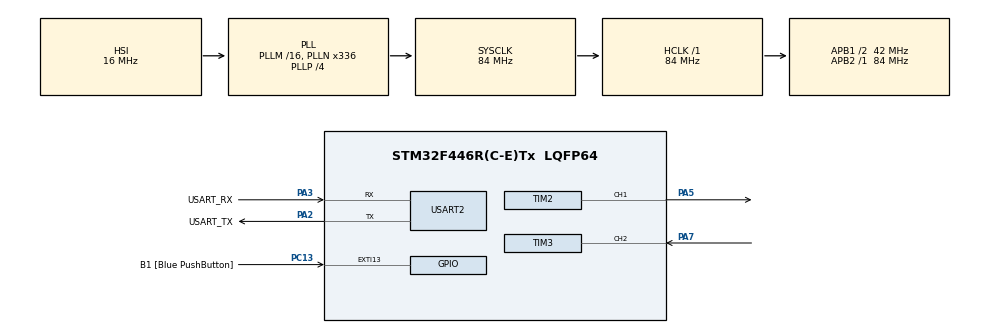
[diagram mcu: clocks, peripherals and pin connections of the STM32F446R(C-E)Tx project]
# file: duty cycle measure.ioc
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Mcu.Family=STM32F4
Mcu.Name=STM32F446R(C-E)Tx
Mcu.Package=LQFP64
NVIC.PriorityGroup=NVIC_PRIORITYGROUP_0
NVIC.TIM3_IRQn=true\:0\:0\:false\:false\:true\:true\:true\:true
PA13.GPIO_Label=TMS
PA13.Mode=Serial_Wire
PA13.Signal=SYS_JTMS-SWDIO
PA14.GPIO_Label=TCK
PA14.Mode=Serial_Wire
PA14.Signal=SYS_JTCK-SWCLK
PA2.GPIO_Label=USART_TX
PA2.Mode=Asynchronous
PA2.Signal=USART2_TX
PA3.GPIO_Label=USART_RX
PA3.Mode=Asynchronous
PA3.Signal=USART2_RX
PA5.Signal=S_TIM2_CH1_ETR
PA7.Signal=S_TIM3_CH2
PB3.GPIO_Label=SWO
PB3.Signal=SYS_JTDO-SWO
PC13.GPIO_Label=B1 [Blue PushButton]
PC13.GPIO_ModeDefaultEXTI=GPIO_MODE_IT_FALLING
PC13.Signal=GPXTI13
PC14-OSC32_IN.Mode=LSE-External-Oscillator
PC14-OSC32_IN.Signal=RCC_OSC32_IN
PC15-OSC32_OUT.Mode=LSE-External-Oscillator
PC15-OSC32_OUT.Signal=RCC_OSC32_OUT
PH0-OSC_IN.Mode=HSE-External-Oscillator
PH0-OSC_IN.Signal=RCC_OSC_IN
PH1-OSC_OUT.Mode=HSE-External-Oscillator
PH1-OSC_OUT.Signal=RCC_OSC_OUT
ProjectManager.HeapSize=0x200
ProjectManager.StackSize=0x400
ProjectManager.TargetToolchain=STM32CubeIDE
RCC.48MHZClocksFreq_Value=84000000
RCC.AHBFreq_Value=84000000
RCC.APB1CLKDivider=RCC_HCLK_DIV2
RCC.APB1Freq_Value=42000000
RCC.APB1TimFreq_Value=84000000
RCC.APB2Freq_Value=84000000
RCC.APB2TimFreq_Value=84000000
RCC.CortexFreq_Value=84000000
RCC.FLatency-AdvancedSettings=FLASH_LATENCY_2
RCC.HCLKFreq_Value=84000000
RCC.HSE_VALUE=8000000
RCC.HSI_VALUE=16000000
RCC.PLLN=336
RCC.PLLP=RCC_PLLP_DIV4
RCC.SYSCLKFreq_VALUE=84000000
RCC.SYSCLKSource=RCC_SYSCLKSOURCE_PLLCLK
RCC.USBFreq_Value=168000000
RCC.VCOOutputFreq_Value=336000000
SH.S_TIM2_CH1_ETR.0=TIM2_CH1,PWM Generation1 CH1
SH.S_TIM3_CH2.0=TIM3_CH2,Input_Capture2_from_TI2
TIM2.Channel-PWM\ Generation1\ CH1=TIM_CHANNEL_1
TIM2.Period=200-1
TIM2.Prescaler=840-1
TIM3.Channel-Input_Capture2_from_TI2=TIM_CHANNEL_2
TIM3.ICPolarity_CH2=TIM_INPUTCHANNELPOLARITY_BOTHEDGE
TIM3.Period=0xffff
TIM3.Prescaler=84-1
USART2.VirtualMode=VM_ASYNC
VP_TIM2_VS_ClockSourceINT.Mode=Internal
VP_TIM3_VS_ClockSourceINT.Mode=Internal
board=NUCLEO-F446RE

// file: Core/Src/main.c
/* USER CODE BEGIN Header */
/**
  ******************************************************************************
  * @file           : main.c
  * @brief          : Main program body
  ******************************************************************************
  * @attention
  *
  * Copyright (c) 2025 STMicroelectronics.
  * All rights reserved.
  *
  * This software is licensed under terms that can be found in the LICENSE file
  * in the root directory of this software component.
  * If no LICENSE file comes with this software, it is provided AS-IS.
  *
  ******************************************************************************
  */
/* USER CODE END Header */
#include "main.h"

TIM_HandleTypeDef htim2;
TIM_HandleTypeDef htim3;

UART_HandleTypeDef huart2;

void SystemClock_Config(void);
static void MX_GPIO_Init(void);
static void MX_USART2_UART_Init(void);
static void MX_TIM2_Init(void);
static void MX_TIM3_Init(void);

/* USER CODE BEGIN 0 */
uint32_t usWidth = 0;
#define TIMCLOCK   84000000
#define PRESCALAR  84

uint32_t IC_Val1 = 0;
uint32_t IC_Val2 = 0;
uint32_t Difference = 0;
int Is_First_Captured = 0;
float refClock;
float mFactor;

void HAL_TIM_IC_CaptureCallback(TIM_HandleTypeDef *htim)
{
	if (htim->Channel == HAL_TIM_ACTIVE_CHANNEL_2)
	{
		if (Is_First_Captured==0)
		{
			IC_Val1 = HAL_TIM_ReadCapturedValue(htim, TIM_CHANNEL_2);
			Is_First_Captured = 1;
		}

		else   // if the first is already captured
		{
			IC_Val2 = HAL_TIM_ReadCapturedValue(htim, TIM_CHANNEL_2);

			if (IC_Val2 > IC_Val1)
			{
				Difference = IC_Val2-IC_Val1;
			}
			else if (IC_Val1 > IC_Val2)
			{
				Difference = (0xffff - IC_Val1) + IC_Val2;
			}

			refClock = TIMCLOCK/(PRESCALAR);
			mFactor = 50000/refClock;

			usWidth = Difference*mFactor;

			__HAL_TIM_SET_COUNTER(htim, 0);  // reset the counter
			Is_First_Captured = 0;
		}
	}
}
/* USER CODE END 0 */

int main(void)
{

  /* MCU Configuration--------------------------------------------------------*/

  /* Reset of all peripherals, Initializes the Flash interface and the Systick. */
  HAL_Init();

  /* Configure the system clock */
  SystemClock_Config();

  /* Initialize all configured peripherals */
  MX_GPIO_Init();
  MX_USART2_UART_Init();
  MX_TIM2_Init();
  MX_TIM3_Init();
  /* USER CODE BEGIN 2 */
  TIM2->CCR1 = 100;
  HAL_TIM_PWM_Start(&htim2, TIM_CHANNEL_1);
  HAL_TIM_IC_Start_IT(&htim3, TIM_CHANNEL_2);
  /* USER CODE END 2 */

  /* Infinite loop */
  while (1)
  {
	  for (int i = 20; i < 180; i=i+20)
	  {
		TIM2->CCR1=i;
		HAL_Delay(1000);
	  }
  }
}

void SystemClock_Config(void)
{
  RCC_OscInitTypeDef RCC_OscInitStruct = {0};
  RCC_ClkInitTypeDef RCC_ClkInitStruct = {0};

  /** Configure the main internal regulator output voltage
  */
  __HAL_RCC_PWR_CLK_ENABLE();
  __HAL_PWR_VOLTAGESCALING_CONFIG(PWR_REGULATOR_VOLTAGE_SCALE3);

  /** Initializes the RCC Oscillators according to the specified parameters
  * in the RCC_OscInitTypeDef structure.
  */
  RCC_OscInitStruct.OscillatorType = RCC_OSCILLATORTYPE_HSI;
  RCC_OscInitStruct.HSIState = RCC_HSI_ON;
  RCC_OscInitStruct.HSICalibrationValue = RCC_HSICALIBRATION_DEFAULT;
  RCC_OscInitStruct.PLL.PLLState = RCC_PLL_ON;
  RCC_OscInitStruct.PLL.PLLSource = RCC_PLLSOURCE_HSI;
  RCC_OscInitStruct.PLL.PLLM = 16;
  RCC_OscInitStruct.PLL.PLLN = 336;
  RCC_OscInitStruct.PLL.PLLP = RCC_PLLP_DIV4;
  RCC_OscInitStruct.PLL.PLLQ = 2;
  RCC_OscInitStruct.PLL.PLLR = 2;
  if (HAL_RCC_OscConfig(&RCC_OscInitStruct) != HAL_OK)
  {
    Error_Handler();
  }

  /** Initializes the CPU, AHB and APB buses clocks
  */
  RCC_ClkInitStruct.ClockType = RCC_CLOCKTYPE_HCLK|RCC_CLOCKTYPE_SYSCLK
                              |RCC_CLOCKTYPE_PCLK1|RCC_CLOCKTYPE_PCLK2;
  RCC_ClkInitStruct.SYSCLKSource = RCC_SYSCLKSOURCE_PLLCLK;
  RCC_ClkInitStruct.AHBCLKDivider = RCC_SYSCLK_DIV1;
  RCC_ClkInitStruct.APB1CLKDivider = RCC_HCLK_DIV2;
  RCC_ClkInitStruct.APB2CLKDivider = RCC_HCLK_DIV1;

  if (HAL_RCC_ClockConfig(&RCC_ClkInitStruct, FLASH_LATENCY_2) != HAL_OK)
  {
    Error_Handler();
  }
}

static void MX_TIM2_Init(void)
{

  TIM_ClockConfigTypeDef sClockSourceConfig = {0};
  TIM_MasterConfigTypeDef sMasterConfig = {0};
  TIM_OC_InitTypeDef sConfigOC = {0};

  htim2.Instance = TIM2;
  htim2.Init.Prescaler = 840-1;
  htim2.Init.CounterMode = TIM_COUNTERMODE_UP;
  htim2.Init.Period = 200-1;
  htim2.Init.ClockDivision = TIM_CLOCKDIVISION_DIV1;
  htim2.Init.AutoReloadPreload = TIM_AUTORELOAD_PRELOAD_DISABLE;
  if (HAL_TIM_Base_Init(&htim2) != HAL_OK)
  {
    Error_Handler();
  }
  sClockSourceConfig.ClockSource = TIM_CLOCKSOURCE_INTERNAL;
  if (HAL_TIM_ConfigClockSource(&htim2, &sClockSourceConfig) != HAL_OK)
  {
    Error_Handler();
  }
  if (HAL_TIM_PWM_Init(&htim2) != HAL_OK)
  {
    Error_Handler();
  }
  sMasterConfig.MasterOutputTrigger = TIM_TRGO_RESET;
  sMasterConfig.MasterSlaveMode = TIM_MASTERSLAVEMODE_DISABLE;
  if (HAL_TIMEx_MasterConfigSynchronization(&htim2, &sMasterConfig) != HAL_OK)
  {
    Error_Handler();
  }
  sConfigOC.OCMode = TIM_OCMODE_PWM1;
  sConfigOC.Pulse = 0;
  sConfigOC.OCPolarity = TIM_OCPOLARITY_HIGH;
  sConfigOC.OCFastMode = TIM_OCFAST_DISABLE;
  if (HAL_TIM_PWM_ConfigChannel(&htim2, &sConfigOC, TIM_CHANNEL_1) != HAL_OK)
  {
    Error_Handler();
  }
  HAL_TIM_MspPostInit(&htim2);

}

static void MX_TIM3_Init(void)
{

  TIM_ClockConfigTypeDef sClockSourceConfig = {0};
  TIM_MasterConfigTypeDef sMasterConfig = {0};
  TIM_IC_InitTypeDef sConfigIC = {0};

  htim3.Instance = TIM3;
  htim3.Init.Prescaler = 84-1;
  htim3.Init.CounterMode = TIM_COUNTERMODE_UP;
  htim3.Init.Period = 0xffff;
  htim3.Init.ClockDivision = TIM_CLOCKDIVISION_DIV1;
  htim3.Init.AutoReloadPreload = TIM_AUTORELOAD_PRELOAD_DISABLE;
  if (HAL_TIM_Base_Init(&htim3) != HAL_OK)
  {
    Error_Handler();
  }
  sClockSourceConfig.ClockSource = TIM_CLOCKSOURCE_INTERNAL;
  if (HAL_TIM_ConfigClockSource(&htim3, &sClockSourceConfig) != HAL_OK)
  {
    Error_Handler();
  }
  if (HAL_TIM_IC_Init(&htim3) != HAL_OK)
  {
    Error_Handler();
  }
  sMasterConfig.MasterOutputTrigger = TIM_TRGO_RESET;
  sMasterConfig.MasterSlaveMode = TIM_MASTERSLAVEMODE_DISABLE;
  if (HAL_TIMEx_MasterConfigSynchronization(&htim3, &sMasterConfig) != HAL_OK)
  {
    Error_Handler();
  }
  sConfigIC.ICPolarity = TIM_INPUTCHANNELPOLARITY_BOTHEDGE;
  sConfigIC.ICSelection = TIM_ICSELECTION_DIRECTTI;
  sConfigIC.ICPrescaler = TIM_ICPSC_DIV1;
  sConfigIC.ICFilter = 0;
  if (HAL_TIM_IC_ConfigChannel(&htim3, &sConfigIC, TIM_CHANNEL_2) != HAL_OK)
  {
    Error_Handler();
  }

}

static void MX_USART2_UART_Init(void)
{

  huart2.Instance = USART2;
  huart2.Init.BaudRate = 115200;
  huart2.Init.WordLength = UART_WORDLENGTH_8B;
  huart2.Init.StopBits = UART_STOPBITS_1;
  huart2.Init.Parity = UART_PARITY_NONE;
  huart2.Init.Mode = UART_MODE_TX_RX;
  huart2.Init.HwFlowCtl = UART_HWCONTROL_NONE;
  huart2.Init.OverSampling = UART_OVERSAMPLING_16;
  if (HAL_UART_Init(&huart2) != HAL_OK)
  {
    Error_Handler();
  }

}

static void MX_GPIO_Init(void)
{
  GPIO_InitTypeDef GPIO_InitStruct = {0};

  /* GPIO Ports Clock Enable */
  __HAL_RCC_GPIOC_CLK_ENABLE();
  __HAL_RCC_GPIOH_CLK_ENABLE();
  __HAL_RCC_GPIOA_CLK_ENABLE();
  __HAL_RCC_GPIOB_CLK_ENABLE();

  /*Configure GPIO pin : B1_Pin */
  GPIO_InitStruct.Pin = B1_Pin;
  GPIO_InitStruct.Mode = GPIO_MODE_IT_FALLING;
  GPIO_InitStruct.Pull = GPIO_NOPULL;
  HAL_GPIO_Init(B1_GPIO_Port, &GPIO_InitStruct);

}

void Error_Handler(void)
{
  __disable_irq();
  while (1)
  {
  }
}
